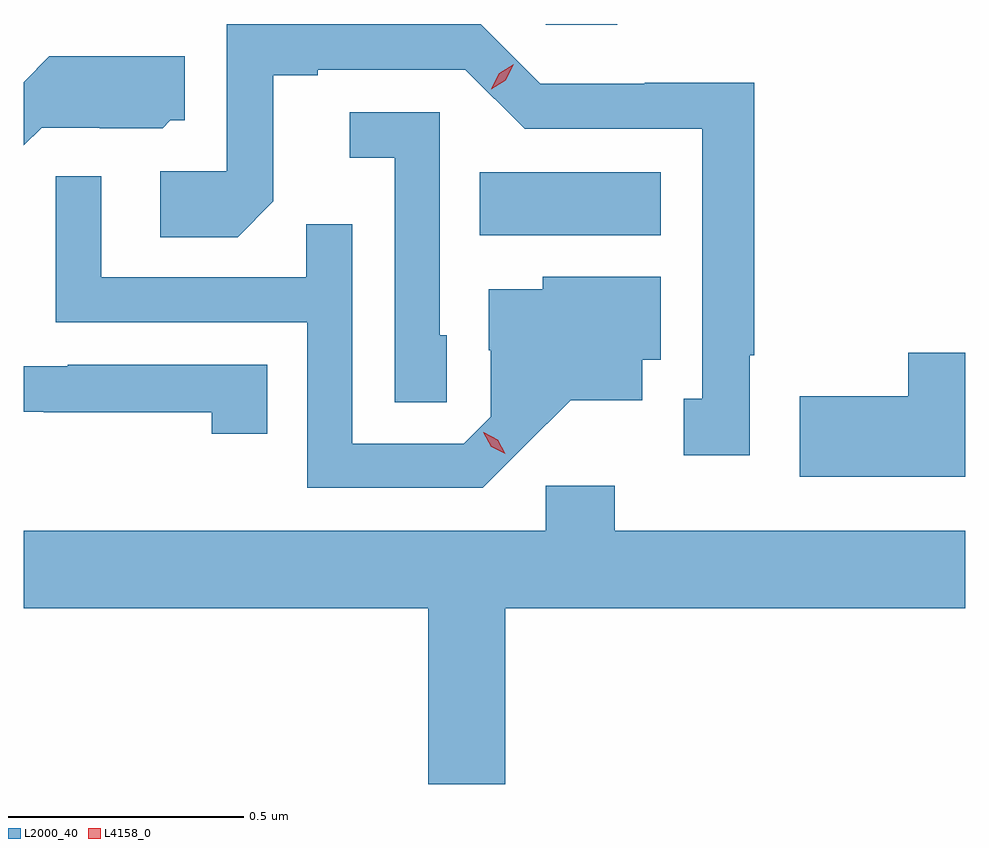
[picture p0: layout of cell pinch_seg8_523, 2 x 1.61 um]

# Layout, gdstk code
import gdstk
lib = gdstk.Library(unit=1e-6, precision=1e-09)
def R(c, l, rs):  # rectangles x0, y0, x1, y1
    for r in rs: c.add(gdstk.rectangle(r[:2], r[2:], *l))
def P(c, l, *ps):  # polygons
    for p in ps: c.add(gdstk.Polygon(p, *l))
L2000_40 = (2000, 40)
L4158_0 = (4158, 0)

pinch_seg8_523 = lib.new_cell('pinch_seg8_523')
R(pinch_seg8_523, L2000_40, [(201.082,1103.972,201.466,1104.106), (201.222,1104.419,201.374,1104.421)])
P(pinch_seg8_523, L2000_40, [(201.655,1103.717),(201.665,1103.717),(201.665,1104.296),(201.432,1104.296),(201.432,1104.294),(201.21,1104.294),(201.084,1104.42),(200.544,1104.42),(200.544,1104.108),(200.403,1104.108),(200.403,1103.968),(200.567,1103.968),(200.643,1104.044),(200.643,1104.312),(200.737,1104.312),(200.737,1104.324),(201.051,1104.324),(201.177,1104.198),(201.554,1104.198),(201.554,1103.625),(201.515,1103.625),(201.515,1103.505),(201.655,1103.505)],
  [(200.151,1104.201),(200.274,1104.201),(200.274,1104.2),(200.408,1104.2),(200.424,1104.216),(200.455,1104.216),(200.455,1104.352),(200.167,1104.352),(200.113,1104.297),(200.113,1104.163)],
  [(201.012,1103.76),(200.997,1103.76),(200.997,1104.234),(200.805,1104.234),(200.805,1104.137),(200.901,1104.137),(200.901,1103.617),(201.012,1103.617)],
  [(201.172,1103.519),(201.275,1103.621),(201.427,1103.621),(201.427,1103.708),(201.466,1103.708),(201.466,1103.884),(201.216,1103.884),(201.216,1103.857),(201.101,1103.857),(201.101,1103.728),(201.105,1103.728),(201.105,1103.586),(201.048,1103.529),(200.811,1103.529),(200.811,1103.996),(200.713,1103.996),(200.713,1103.883),(200.277,1103.883),(200.277,1104.097),(200.181,1104.097),(200.181,1103.787),(200.715,1103.787),(200.715,1103.436),(201.088,1103.436)],
  [(202.113,1103.722),(201.992,1103.722),(201.992,1103.63),(201.762,1103.63),(201.762,1103.459),(202.113,1103.459)],
  [(200.63,1103.697),(200.206,1103.697),(200.206,1103.694),(200.113,1103.694),(200.113,1103.597),(200.155,1103.597),(200.155,1103.596),(200.512,1103.596),(200.512,1103.55),(200.63,1103.55)],
  [(201.136,1103.18),(202.113,1103.18),(202.113,1103.344),(201.369,1103.344),(201.369,1103.44),(201.222,1103.44),(201.222,1103.344),(200.113,1103.344),(200.113,1103.18),(200.972,1103.18),(200.972,1102.806),(201.136,1102.806)])
P(pinch_seg8_523, L4158_0, [(201.106,1104.282),(201.106,1104.283),(201.123,1104.316),(201.154,1104.335),(201.154,1104.335),(201.154,1104.335),(201.137,1104.302),(201.106,1104.282)],
  [(201.136,1103.508),(201.106,1103.523),(201.089,1103.553),(201.089,1103.553),(201.09,1103.553),(201.12,1103.538),(201.136,1103.508),(201.136,1103.508)])

lib.write_gds('pinch_seg8_523.gds')
